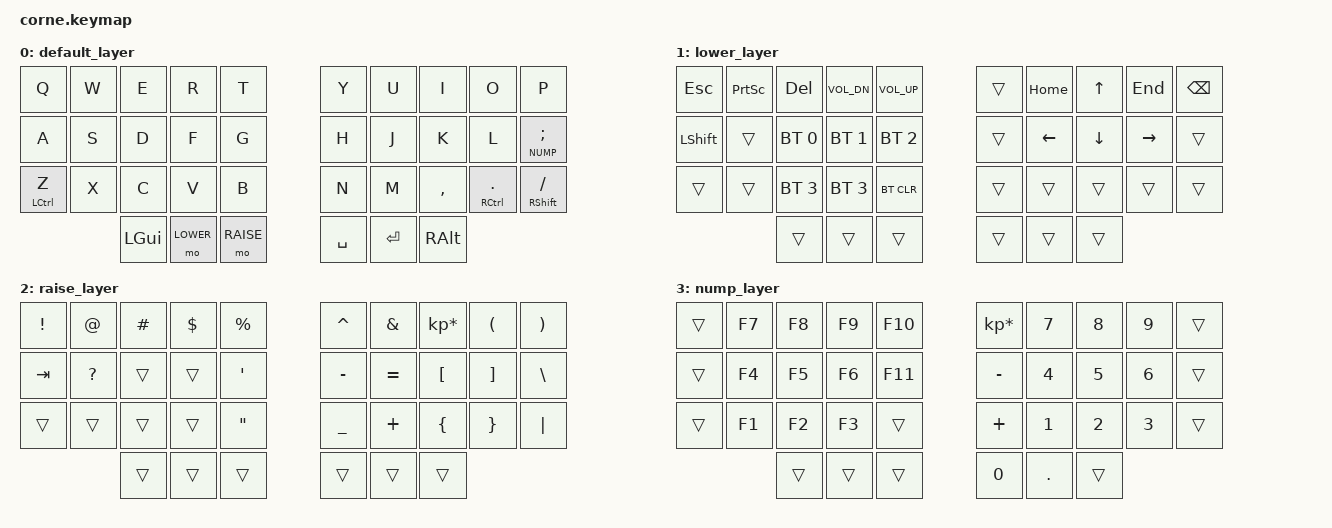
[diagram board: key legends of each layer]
/*
 * Copyright (c) 2020 The ZMK Contributors
 *
 * SPDX-License-Identifier: MIT
 */

#include <behaviors.dtsi>
#include <dt-bindings/zmk/keys.h>
#include <dt-bindings/zmk/bt.h>

#define LOWER 1
#define RAISE 2
#define NUMP  3

/ {
	chosen { 
		zmk,matrix_transform = &five_column_transform; 
	}; 
};

/ {
        keymap {
                compatible = "zmk,keymap";


// -----------------------------------------------------------------------------------------
                default_layer {
// -----------------------------------------------------------------------------------------

                        bindings = <
// ╭-------------------------------------------------------------------------------╮       ╭-------------------------------------------------------------------------------╮
// |       Q       |       W       |       E       |       R       |       T       |       |       Y       |       U       |       I       |       O       |       P       |
		&kp Q 			&kp W 			&kp E 			&kp R 			&kp T   				&kp Y 			&kp U  			&kp I     		&kp O			&kp P
// |---------------|---------------|---------------|---------------|---------------|       |---------------|---------------|---------------|---------------|---------------|
// |       A       |       S       |       D       |       F       |       G       |       |       H       |       J       |       K       |       L       |   NUMP or ;   | 
	     &kp A 			&kp S 			&kp D 			&kp F 			&kp G   				&kp H 			&kp J  			&kp K     		&kp L        &lt NUMP SEMI
// |---------------|---------------|---------------|---------------|---------------|       |---------------|---------------|---------------|---------------|---------------|
// |  Z or LCTRL   |       X       |       C       |       V       |       B       |       |       N       |       M       |       ,       |       .       | Shift or FSLH | 
	  &mt LCTRL Z		&kp X 			&kp C 			&kp V 			&kp B   				&kp N 			&kp M  			&kp COMMA 	 &mt RCTRL DOT 	&mt RSHIFT FSLH
// ╰-------------------------------|---------------|---------------|---------------|       |---------------|---------------|---------------|-------------------------------╯
//             					   |      GUI      |     LOWER     |     RAISE     |       |      SPC      |      ENT      |      ALT      |
										&kp LGUI 	   &mo LOWER  	   &mo RAISE 			   &kp SPACE 	    &kp RET 	    &kp RALT
//                                 ╰-----------------------------------------------╯       ╰-----------------------------------------------╯
                        >;
                };
				
				
// -----------------------------------------------------------------------------------------
                lower_layer {
// -----------------------------------------------------------------------------------------

                        bindings = <
// ╭-------------------------------------------------------------------------------╮       ╭-------------------------------------------------------------------------------╮
// |      ESC      |      PSCRN    |      DEL      |     VOL_DN    |    VOL_UP     |       |               |      HOME     |      UP       |      END      |               | 
		&kp ESC       	&kp PSCRN        &kp DEL     &kp C_VOL_DN    &kp C_VOL_UP      			&trans   		&kp HOME   		&kp UP 			&kp END    		&kp BSPC
// |---------------|---------------|---------------|---------------|---------------|       |---------------|---------------|---------------|---------------|---------------|
// |    LSHIFT     |               |      BT1      |      BT2      |      BT3      |       |               |      LFT      |      DOWN     |      RGT      |               | 
      &kp LSHIFT   	    &trans     	  &bt BT_SEL 0 	  &bt BT_SEL 1 	  &bt BT_SEL 2   			&trans   		&kp LEFT 		&kp DOWN		&kp RIGHT 		&trans
// |---------------|---------------|---------------|---------------|---------------|       |---------------|---------------|---------------|---------------|---------------|
// |               |               |      BT4      |      BT5      |     BT CLR    |       |               |               |               |               |               | 
		&trans         	&trans       &bt BT_SEL 3     &bt BT_SEL 3     &bt BT_CLR      			&trans   		&trans   		&trans 			&trans    		&trans
// ╰-------------------------------|---------------|---------------|---------------|       |---------------|---------------|---------------|-------------------------------╯
//                                 |               |               |               |       |               |               |               |
										&trans     		&trans       	&trans      			&trans  		&trans   		&trans
//                                 ╰-----------------------------------------------╯       ╰-----------------------------------------------╯
                        >;
                };

// -----------------------------------------------------------------------------------------
                raise_layer {
// -----------------------------------------------------------------------------------------






                        bindings = <
// ╭-------------------------------------------------------------------------------╮       ╭-------------------------------------------------------------------------------╮
// |       !       |       @       |       #       |       $       |       %       |       |       ^       |       &       |       *       |       (       |       )       | 
		&kp EXCL 		&kp AT 		&kp HASH 			&kp DLLR 		&kp PRCNT   			&kp CARET 		&kp AMPS  	&kp KP_MULTIPLY 	&kp LPAR 		&kp RPAR
// |---------------|---------------|---------------|---------------|---------------|       |---------------|---------------|---------------|---------------|---------------|
// |      TAB      |     QMARK     |               |               |     APOS      |       |       -       |       =       |       [       |       ]       |       \       | 
		&kp TAB   	   &kp QMARK 		&trans   		&trans   		&kp APOS      			&kp MINUS 		&kp EQUAL 		&kp LBKT        &kp RBKT 		&kp BSLH
// |---------------|---------------|---------------|---------------|---------------|       |---------------|---------------|---------------|---------------|---------------|
// |               |               |               |               |     QUOTE     |       |       _       |       +       |       {       |       }       |      "|"      | 
		&trans   		&trans 			&trans   		&trans   		&kp DQT      			&kp UNDER 		&kp PLUS  		&kp LBRC        &kp RBRC 		&kp PIPE
// ╰-------------------------------|---------------|---------------|---------------|       |---------------|---------------|---------------|-------------------------------╯
//                                 |               |               |               |       |               |               |               |
										&trans 			&trans   		&trans  				&trans   		&trans    		&trans
//                                 ╰-----------------------------------------------╯       ╰-----------------------------------------------╯
                        >;
                };
                
// -----------------------------------------------------------------------------------------
                nump_layer {
// -----------------------------------------------------------------------------------------




                        bindings = <
// ╭-------------------------------------------------------------------------------╮       ╭-------------------------------------------------------------------------------╮
// |               |      F7       |      F8       |      F9       |      F10      |       |       *       |       7       |       8       |       9       |               | 
		&trans   		&kp F7   		&kp F8   		&kp F9   		&kp F10     		&kp KP_MULTIPLY 	&kp N7 			&kp N8 			&kp N9 			&trans
// |---------------|---------------|---------------|---------------|---------------|       |---------------|---------------|---------------|---------------|---------------|
// |               |      F4       |      F5       |      F6       |      F11      |       |       -       |       4       |       5       |       6       |               | 
		&trans   		&kp F4   		&kp F5   		&kp F6   		&kp F11      			&kp MINUS       &kp N4 			&kp N5 			&kp N6 			&trans
// |---------------|---------------|---------------|---------------|---------------|       |---------------|---------------|---------------|---------------|---------------|
// |               |      F1       |      F2       |      F3       |               |       |       +       |       1       |       2       |       3       |               | 
		&trans   		&kp F1   		&kp F2   		&kp F3   		&trans      			&kp PLUS        &kp N1 			&kp N2 			&kp N3 			&trans
// ╰-------------------------------|---------------|---------------|---------------|       |---------------|---------------|---------------|-------------------------------╯
//                                 |               |               |               |       |       0       |       .       |               |
										&trans   		&trans   		&trans      			&kp N0       	&kp DOT   		&trans   
//                                 ╰-----------------------------------------------╯       ╰-----------------------------------------------╯
                        >;
                };
        };
};
